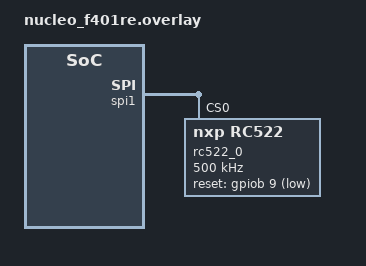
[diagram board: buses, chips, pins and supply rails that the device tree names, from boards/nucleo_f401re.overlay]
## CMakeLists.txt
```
# SPDX-License-Identifier: Apache-2.0

cmake_minimum_required(VERSION 3.20.0)
find_package(Zephyr REQUIRED HINTS $ENV{ZEPHYR_BASE})
project(rc522)

target_sources(app PRIVATE src/main.c)
```

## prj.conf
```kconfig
CONFIG_LOG=y
CONFIG_SHELL=y

CONFIG_NFC=y
CONFIG_NFC_LOG_LEVEL_INF=y
CONFIG_NET_BUF=y

CONFIG_RC522=y

CONFIG_SPI=y
```

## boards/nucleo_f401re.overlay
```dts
/*
 * Copyright (c) 2026 Luke Bugbee <lbugbee@protonmail.com>
 *
 * SPDX-License-Identifier: Apache-2.0
 */

/ {
	aliases {
		nfc = &rc522_0;
	};
};

&usart1 {
	status = "disabled";
};

&i2c1 {
	status = "disabled";
};

&spi1 {
	status = "okay";

	rc522_0: rc522@0 {
		compatible = "nxp,rc522";
		reg = <0>;
		spi-max-frequency = <500000>;
		reset-gpios = <&gpiob 9 GPIO_ACTIVE_LOW>;
		status = "okay";
	};
};
```

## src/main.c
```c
/*
 * Copyright (c) 2026 Luke Bugbee <lbugbee@protonmail.com>
 *
 * SPDX-License-Identifier: Apache-2.0
 */

#include <zephyr/drivers/nfc.h>
#include <zephyr/logging/log.h>
#include <zephyr/net_buf.h>

LOG_MODULE_REGISTER(rc522_sample);

#define PICC_CMD_REQA    0x26
#define PICC_CMD_SEL_CL1 0x93

#define PICC_ANTICOLL 0x20
#define PICC_SELECT   0x70

#define POLL_FREQ_MS 250

static const struct device *nfc_dev = DEVICE_DT_GET(DT_ALIAS(nfc));

static int detect_tag(const struct device *dev, struct nfc_target *tag)
{
	NET_BUF_SIMPLE_DEFINE(tx_buf, 1);
	NET_BUF_SIMPLE_DEFINE(rx_buf, 2);
	int ret;

	net_buf_simple_add_u8(&tx_buf, PICC_CMD_REQA);

	struct nfc_comm comm = {.tx_buf = &tx_buf, .rx_buf = &rx_buf, .valid_bits = 7};

	LOG_HEXDUMP_DBG(comm.tx_buf->data, comm.tx_buf->len, "-> TX");

	ret = nfc_transceive(dev, &comm);
	if (ret < 0) {
		return ret;
	}

	LOG_HEXDUMP_DBG(comm.rx_buf->data, comm.rx_buf->len, "<- RX");

	tag->atq = (rx_buf.data[1] << 4U) | rx_buf.data[0];

	return 0;
}

static int read_uid(const struct device *dev, struct nfc_target *tag)
{
	NET_BUF_SIMPLE_DEFINE(tx_buf, 2);
	NET_BUF_SIMPLE_DEFINE(rx_buf, 5);
	int ret;

	net_buf_simple_add_u8(&tx_buf, PICC_CMD_SEL_CL1);
	net_buf_simple_add_u8(&tx_buf, PICC_ANTICOLL);

	struct nfc_comm comm = {.tx_buf = &tx_buf, .rx_buf = &rx_buf};

	LOG_HEXDUMP_DBG(comm.tx_buf->data, comm.tx_buf->len, "-> TX");

	ret = nfc_transceive(dev, &comm);
	if (ret < 0) {
		return ret;
	}

	LOG_HEXDUMP_DBG(comm.rx_buf->data, comm.rx_buf->len, "<- RX");

	memcpy(tag->nfc_id, rx_buf.data, rx_buf.len);
	tag->nfc_id_len = rx_buf.len;

	return 0;
}

int main(void)
{
	struct nfc_target tag;
	int ret;

	if (!device_is_ready(nfc_dev)) {
		LOG_ERR("nfc phy dev is not ready");
		return -ENODEV;
	}

	nfc_enable(nfc_dev, true);

	LOG_INF("starting poll for nfc tags");
	while (true) {
		ret = detect_tag(nfc_dev, &tag);
		if (ret < 0) {
			goto poll_next;
		}

		ret = read_uid(nfc_dev, &tag);
		if (ret < 0) {
			LOG_ERR("failed to read UID");
			goto poll_next;
		}

		LOG_HEXDUMP_INF(tag.nfc_id, tag.nfc_id_len, "UID");

poll_next:
		k_msleep(POLL_FREQ_MS);
	}

	return 0;
}
```
